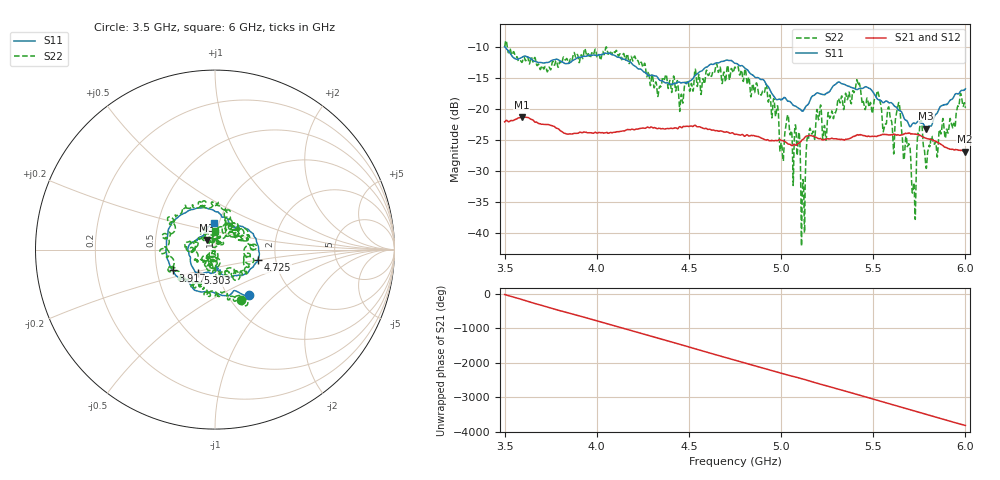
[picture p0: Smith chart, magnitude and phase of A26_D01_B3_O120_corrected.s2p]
! Created with skrf 1.9.0 (http://scikit-rf.org).
# Hz S RI R 50.0
!freq ReS11 ImS11 ReS21 ImS21 ReS12 ImS12 ReS22 ImS22
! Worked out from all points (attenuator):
!   1601 points, 3.5 GHz to 6 GHz, reference 50 ohm
!   highest |S21| = -21.27 dB at 3.592 GHz (marker M1); lowest = -26.9 dB at 5.997 GHz (marker M2)
!   lowest |S11| = -23.2 dB at 5.787 GHz (marker M3), VSWR 1.15, Z = 45.6 + j4.95 ohm
!   |S11| at or under -10 dB: 3.502 GHz to end of sweep
!   |S22| runs from -42.1 to -8.9 dB; largest |S21 - S12| = 0.0012
!   S11 on the Smith chart (normalised r, x): 3.5 GHz: 1.25, -0.71; 3.917 GHz: 0.60, -0.15; 4.725 GHz: 1.62, -0.20; 5.303 GHz: 0.80, -0.21; 6 GHz: 0.95, +0.28
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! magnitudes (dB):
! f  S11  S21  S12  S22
! 3.5 GHz  -9.9  -22.1  -22.0  -10.0
! 3.592 GHz  -11.7  -21.3  -21.3  -12.4
! 3.917 GHz  -11.6  -23.8  -23.8  -11.3
! 4.334 GHz  -15.1  -23.1  -23.1  -17.4
! 4.725 GHz  -12.1  -23.9  -23.8  -14.4
! 4.75 GHz  -12.6  -24.1  -24.0  -13.2
! 4.928 GHz  -16.3  -25.0  -24.9  -18.5
! 5.003 GHz  -18.5  -25.1  -25.1  -25.9
! 5.033 GHz  -18.6  -25.5  -25.5  -21.3
! 5.088 GHz  -19.7  -25.7  -25.7  -27.5
! 5.119 GHz  -20.3  -24.9  -24.9  -31.4
! 5.145 GHz  -19.3  -24.3  -24.3  -24.5
! 5.167 GHz  -18.0  -24.3  -24.3  -24.0
! 5.303 GHz  -15.8  -24.8  -24.8  -19.7
! 5.417 GHz  -16.8  -24.2  -24.2  -16.0
! 5.584 GHz  -19.0  -24.2  -24.2  -19.6
! 5.639 GHz  -20.2  -24.2  -24.2  -18.9
! 5.719 GHz  -22.2  -24.0  -24.0  -32.3
! 5.752 GHz  -22.1  -24.2  -24.2  -23.0
! 5.787 GHz  -23.2  -24.7  -24.7  -29.6
! 5.997 GHz  -16.8  -26.9  -26.8  -19.2
! 6 GHz  -16.7  -26.9  -26.8  -19.8
